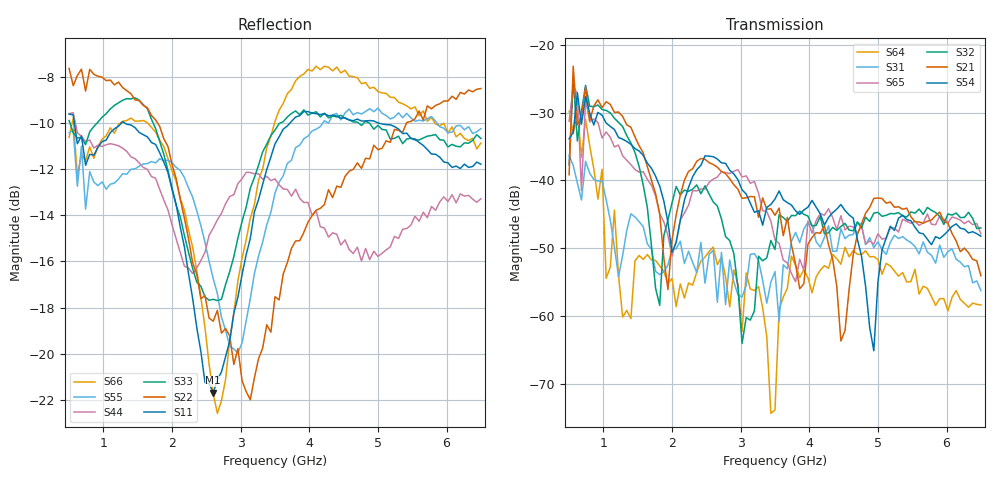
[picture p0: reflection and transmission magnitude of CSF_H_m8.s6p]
!Keysight Technologies,M9804A,MY58100912,A.14.10.03
!Date: Thursday, April 27, 2023 10:28:33
!Correction: S11(C  6-Port  )
!S12(C  6-Port  )
!S13(C  6-Port  )
!S14(C  6-Port  )
!S15(C  6-Port  )
!S16(C  6-Port  )
!S21(C  6-Port  )
!S22(C  6-Port  )
!S23(C  6-Port  )
!S24(C  6-Port  )
!S25(C  6-Port  )
!S26(C  6-Port  )
!S31(C  6-Port  )
!S32(C  6-Port  )
!S33(C  6-Port  )
!S34(C  6-Port  )
!S35(C  6-Port  )
!S36(C  6-Port  )
!S41(C  6-Port  )
!S42(C  6-Port  )
!S43(C  6-Port  )
!S44(C  6-Port  )
!S45(C  6-Port  )
!S46(C  6-Port  )
!S51(C  6-Port  )
!S52(C  6-Port  )
!S53(C  6-Port  )
!S54(C  6-Port  )
!S55(C  6-Port  )
!S56(C  6-Port  )
!S61(C  6-Port  )
!S62(C  6-Port  )
!S63(C  6-Port  )
!S64(C  6-Port  )
!S65(C  6-Port  )
!S66(C  6-Port  )
!S6P File: Measurement: :
# Hz S  RI  R 50
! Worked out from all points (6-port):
!   101 points, 500 MHz to 6.5 GHz, reference 50 ohm
!   strongest paths, dB at 500 MHz, 2 GHz, 3.5 GHz, 5 GHz, 6.5 GHz:
!     S54: -33.9, -50.6, -42.7, -55.0, -48.2
!     S21: -39.2, -48.7, -45.1, -42.6, -54.0
!     S32: -37.7, -43.3, -50.2, -44.7, -47.0
!     S65: -31.3, -51.2, -48.8, -47.9, -47.9
!     S31: -36.3, -50.1, -53.4, -49.1, -56.2
!     S64: -29.8, -54.4, -73.8, -51.7, -58.4
!   lowest |S11| = -21.7 dB at 2.6 GHz (marker M1), VSWR 1.18, Z = 42.7 + j2.04 ohm
!   |S11| at or under -10 dB: 577.4 MHz to 1.259 GHz (682 MHz wide, 74.3 % of centre); 1.317 GHz to 3.715 GHz (2.398 GHz wide, 95.3 % of centre); 5.021 GHz to end of sweep
